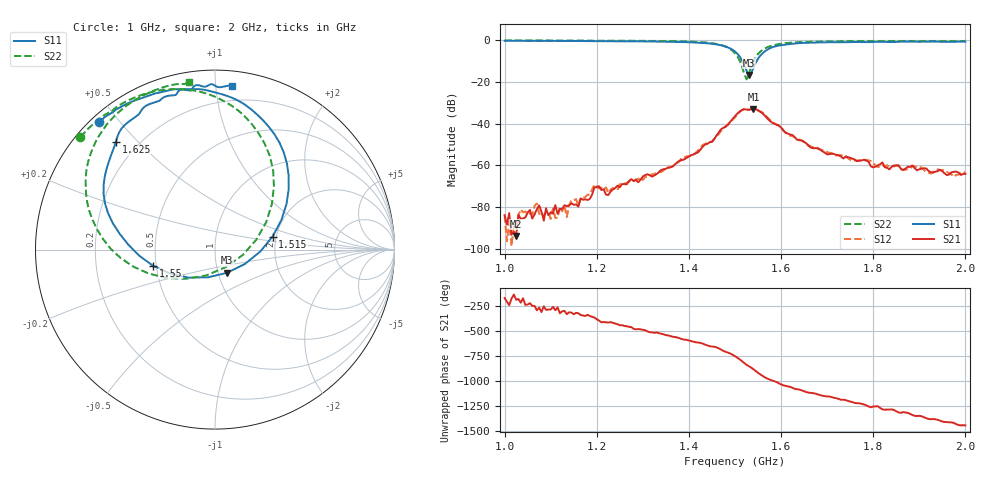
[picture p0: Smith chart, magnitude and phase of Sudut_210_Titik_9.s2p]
# Hz S RI R 50
! CMT, C1220, 16058040, 17.2.0/1
! Date: 14/08/2018 11:57:35
! Data: Format (Calibration Info)
! Freq  S11: Re/Im (F2)  S21: Re/Im (F2)  S12: Re/Im (F2)  S22: Re/Im (F2)
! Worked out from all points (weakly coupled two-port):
!   201 points, 1 GHz to 2 GHz, reference 50 ohm
!   highest |S21| = -32.98 dB at 1.54 GHz (marker M1); lowest = -93.8 dB at 1.025 GHz (marker M2)
!   lowest |S11| = -16.7 dB at 1.53 GHz (marker M3), VSWR 1.34, Z = 55.2 - j14.6 ohm
!   |S11| at or under -10 dB: 1.516 GHz to 1.547 GHz (31.5 MHz wide, 2.06 % of centre)
!   |S22| runs from -18.8 to -0.2 dB; largest |S21 - S12| = 0.00095
!   S11 on the Smith chart (normalised r, x): 1 GHz: 0.02, +0.44; 1.515 GHz: 1.91, +0.31; 1.55 GHz: 0.48, -0.10; 1.625 GHz: 0.12, +0.43; 2 GHz: 0.10, +1.10
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1e9  -0.6443 0.7119  -6.33e-05 -8.25e-06  -6.15e-05 -1.23e-05  -0.7497 0.6272
1.025e9  -0.6216 0.7309  -2e-05 3.49e-06  -3.19e-05 -5.12e-06  -0.7327 0.6461
1.135e9  -0.5054 0.8042  9.45e-05 4.66e-05  2.24e-05 5.3e-05  -0.6464 0.7272
1.155e9  -0.4898 0.8129  8.95e-05 7.25e-05  7.93e-05 0.000133  -0.6276 0.7414
1.16e9  -0.485 0.8149  8.35e-05 5.92e-05  6.27e-05 8.47e-05  -0.6226 0.7454
1.17e9  -0.4717 0.8209  0.000146 3.38e-05  0.000164 9.38e-06  -0.612 0.7524
1.185e9  -0.4469 0.8309  0.000156 2.01e-05  0.0002 6.34e-06  -0.5948 0.7615
1.195e9  -0.4337 0.8356  0.000293 -3.64e-05  0.00034 -6.51e-05  -0.5826 0.7655
1.225e9  -0.4014 0.8462  0.000105 -0.000163  0.000132 -0.000172  -0.5618 0.7842
1.335e9  -0.2144 0.8936  -0.000654 -0.000198  -0.00069 -0.000137  -0.3954 0.8661
1.45e9  0.1823 0.7961  0.00165 0.00325  0.00189 0.00319  0.027 0.8391
1.5e9  0.4106 0.3368  0.0127 -0.00798  0.0119 -0.00752  0.3284 0.3514
1.515e9  0.3209 0.073  0.00293 -0.0207  0.00348 -0.0208  0.2306 0.0556
1.525e9  0.1668 -0.0799  -0.0103 -0.0189  -0.0103 -0.0191  0.0571 -0.0992
1.53e9  0.0673 -0.1292  -0.0143 -0.0158  -0.0144 -0.0159  -0.051 -0.1446
1.54e9  -0.1486 -0.156  -0.0215 -0.00653  -0.0213 -0.00652  -0.2731 -0.1581
1.55e9  -0.3462 -0.0896  -0.0195 0.00668  -0.0197 0.00601  -0.455 -0.095
1.58e9  -0.6132 0.2589  0.000588 0.0106  0.00107 0.011  -0.701 0.2169
1.625e9  -0.5526 0.5986  0.00516 0.00103  0.00486 0.00112  -0.6967 0.5225
1.67e9  -0.4407 0.7411  0.00191 -0.00171  0.00203 -0.0018  -0.6202 0.6738
1.835e9  -0.1454 0.8866  -0.000724 0.000331  -0.000844 0.000397  -0.3698 0.8736
2e9  0.0936 0.9119  0.000621 -4.09e-05  0.000664 -5.88e-05  -0.1463 0.9311
